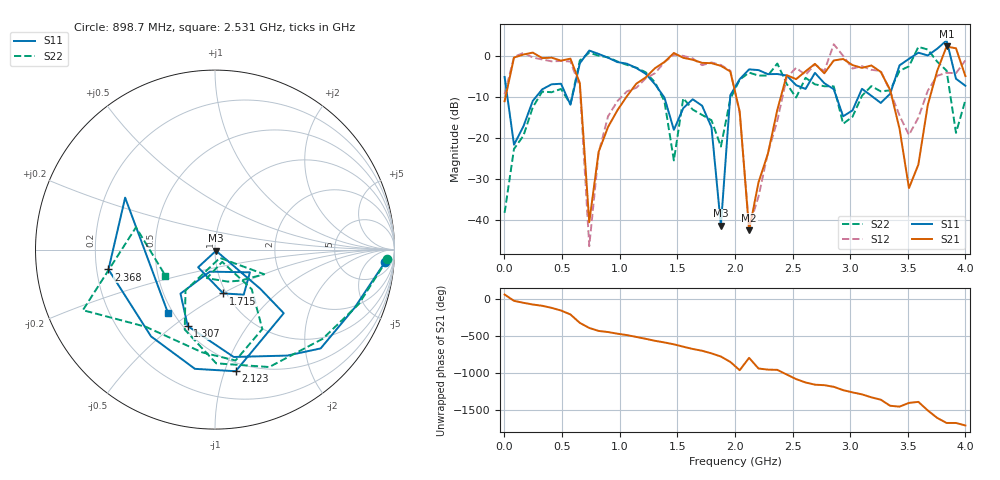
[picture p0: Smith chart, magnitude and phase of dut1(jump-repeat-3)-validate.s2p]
!Created with skrf (http://scikit-rf.org).
# GHz S DB R 50.0
!freq dBS11 angS11 dBS21 angS21 dBS12 angS12 dBS22 angS22
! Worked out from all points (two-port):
!   50 points, 1 MHz to 4 GHz, reference 50 ohm
!   highest |S21| = 2.31 dB at 3.837 GHz (marker M1); lowest = -42.4 dB at 2.123 GHz (marker M2)
!   |S21| within 3 dB of the highest: 80.19 MHz to 441 MHz (360.9 MHz wide, 138 % of centre); 1.417 GHz to 1.596 GHz (178.6 MHz wide, 11.9 % of centre) (the widest 2 of 4)
!   lowest |S11| = -41.2 dB at 1.878 GHz (marker M3), VSWR 1.02, Z = 50.6 - j0.666 ohm
!   |S11| at or under -10 dB: 25.24 MHz to 272.2 MHz (247 MHz wide, 166 % of centre); 1.385 GHz to 1.959 GHz (573.3 MHz wide, 34.3 % of centre); 2.881 GHz to 3.071 GHz (189.6 MHz wide, 6.37 % of centre) (the widest 3 of 5)
!   |S22| runs from -38.1 to 2.2 dB; largest |S21 - S12| = 1
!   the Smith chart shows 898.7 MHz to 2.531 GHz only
!   S11 on the Smith chart (normalised r, x): 898.7 MHz: 14, -19; 1.307 GHz: 0.53, -0.56; 1.715 GHz: 0.97, -0.50; 2.123 GHz: 0.42, -1.09; 2.368 GHz: 0.25, -0.09; 2.531 GHz: 0.47, -0.41
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0.001  -5.10 -178.9  -11.01 61.4  -9.32 -52.4  -38.13 -141.9
0.2458367  -10.90 -160.3  0.82 -73.2  -0.37 -68.4  -12.46 -150.6
0.5722857  -11.86 71.2  -0.65 152.4  -1.35 154.4  -11.71 64.7
0.653898  -1.78 120.2  -6.60 38.5  -7.44 26.1  -1.09 111.6
0.7355102  1.32 54.6  -40.42 -30.0  -46.24 38.5  0.81 65.1
0.8987347  -0.43 -4.0  -17.26 -85.3  -14.67 -87.7  -0.33 -3.1
1.306796  -6.89 -109.6  -2.96 156.3  -4.17 158.6  -6.44 -110.7
1.388408  -10.13 -128.1  -1.46 133.8  -1.50 133.4  -11.03 -125.8
1.714857  -12.09 -79.3  -1.68 22.0  -2.24 18.7  -14.32 -68.1
1.878082  -41.24 -49.4  -2.41 -56.3  -2.19 -59.1  -22.02 -59.5
2.041306  -5.65 -42.8  -13.50 119.1  -13.88 113.6  -5.76 -59.2
2.122918  -3.26 -80.4  -42.40 -73.9  -41.50 152.4  -4.04 -79.5
2.367755  -4.38 -169.4  -13.10 123.6  -15.74 144.2  -1.83 -155.4
2.53098  -7.11 -126.3  -5.64 -1.2  -2.87 -1.6  -10.11 -152.3
2.694204  -4.10 -143.9  -1.92 -76.6  -2.03 -64.9  -6.89 -157.6
2.939041  -14.68 126.0  -0.73 -150.4  0.03 -151.1  -16.49 132.9
3.183878  -9.69 178.9  -2.31 112.3  -3.37 121.4  -7.33 178.5
3.347102  -9.19 -163.5  -8.26 -1.6  -8.61 2.7  -8.36 -172.3
3.510327  -0.70 171.8  -32.12 37.1  -19.21 87.8  -2.51 178.1
3.755163  1.76 84.5  -3.63 -165.7  -4.81 176.0  -1.37 101.9
3.836776  3.77 41.8  2.31 126.2  -4.09 177.5  -3.56 71.5
4  -7.24 110.2  -4.90 92.4  -1.08 67.6  -10.74 59.4
